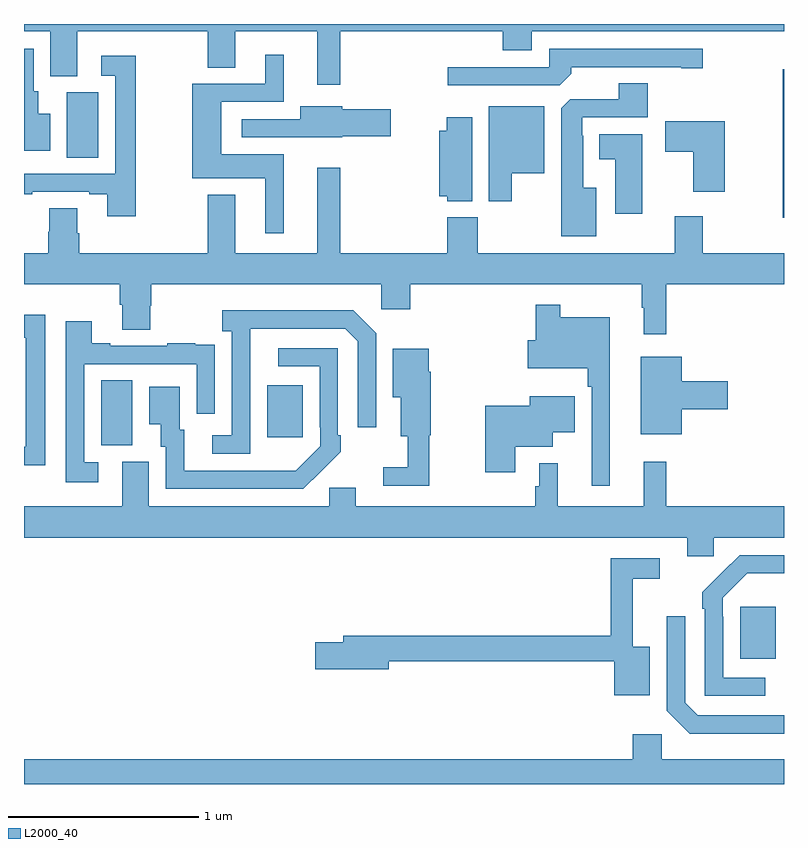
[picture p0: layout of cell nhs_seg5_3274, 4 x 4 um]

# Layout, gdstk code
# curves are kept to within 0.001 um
import gdstk
lib = gdstk.Library(unit=1e-6, precision=1e-09)
def R(c, l, rs):  # rectangles x0, y0, x1, y1
    for r in rs: c.add(gdstk.rectangle(r[:2], r[2:], *l))
def P(c, l, *ps):  # polygons
    for p in ps: c.add(gdstk.Polygon(p, *l))
L2000_40 = (2000, 40)

nhs_seg5_3274 = lib.new_cell('nhs_seg5_3274')
R(nhs_seg5_3274, L2000_40, [(304.769,853.457,304.957,853.732), (301.406,854.581,301.57,854.924), (302.279,854.625,302.467,854.899), (304.993,855.779,305,856.562), (301.226,856.096,301.39,856.44)])
P(nhs_seg5_3274, L2000_40, [(302.665,856.76),(303.521,856.76),(303.521,856.661),(303.673,856.661),(303.673,856.76),(305,856.76),(305,856.799),(301,856.799),(301,856.76),(301.139,856.76),(301.139,856.525),(301.279,856.525),(301.279,856.76),(301.966,856.76),(301.966,856.57),(302.113,856.57),(302.113,856.76),(302.543,856.76),(302.543,856.479),(302.665,856.479)],
  [(301.138,856.327),(301.075,856.327),(301.075,856.446),(301.05,856.446),(301.05,856.668),(301,856.668),(301,856.131),(301.138,856.131)],
  [(303.881,856.538),(303.881,856.572),(304.46,856.572),(304.46,856.567),(304.573,856.567),(304.573,856.668),(303.765,856.668),(303.765,856.572),(303.231,856.572),(303.231,856.476),(303.819,856.476)],
  [(302.368,856.114),(302.038,856.114),(302.038,856.389),(302.368,856.389),(302.368,856.636),(302.27,856.636),(302.27,856.485),(301.885,856.485),(301.885,855.986),(302.27,855.986),(302.27,855.699),(302.368,855.699)],
  [(301.588,856.633),(301.407,856.633),(301.407,856.527),(301.479,856.527),(301.479,856.011),(301,856.011),(301,855.903),(301.043,855.903),(301.043,855.915),(301.343,855.915),(301.343,855.903),(301.439,855.903),(301.439,855.786),(301.588,855.786)],
  [(304.012,855.937),(303.943,855.937),(303.943,856.211),(303.939,856.211),(303.939,856.308),(304.283,856.308),(304.283,856.487),(304.13,856.487),(304.13,856.404),(303.876,856.404),(303.827,856.355),(303.827,855.683),(304.012,855.683)],
  [(302.676,856.208),(302.929,856.208),(302.929,856.35),(302.676,856.35),(302.676,856.366),(302.453,856.366),(302.453,856.299),(302.145,856.299),(302.145,856.203),(302.457,856.203),(302.457,856.202),(302.676,856.202)],
  [(303.568,856.013),(303.739,856.013),(303.739,856.366),(303.446,856.366),(303.446,855.867),(303.568,855.867)],
  [(303.358,856.309),(303.224,856.309),(303.224,856.237),(303.185,856.237),(303.185,855.893),(303.228,855.893),(303.228,855.866),(303.358,855.866)],
  [(304.689,856.288),(304.374,856.288),(304.374,856.126),(304.523,856.126),(304.523,855.915),(304.689,855.915)],
  [(304.255,856.219),(304.028,856.219),(304.028,856.088),(304.112,856.088),(304.112,855.801),(304.255,855.801)],
  [(304.379,855.428),(305,855.428),(305,855.592),(304.572,855.592),(304.572,855.787),(304.424,855.787),(304.424,855.592),(303.387,855.592),(303.387,855.781),(303.227,855.781),(303.227,855.592),(302.665,855.592),(302.665,856.042),(302.543,856.042),(302.543,855.592),(302.113,855.592),(302.113,855.901),(301.966,855.901),(301.966,855.592),(301.292,855.592),(301.292,855.698),(301.279,855.698),(301.279,855.83),(301.132,855.83),(301.132,855.705),(301.127,855.705),(301.127,855.592),(301,855.592),(301,855.428),(301.505,855.428),(301.505,855.322),(301.517,855.322),(301.517,855.19),(301.665,855.19),(301.665,855.315),(301.67,855.315),(301.67,855.428),(302.88,855.428),(302.88,855.297),(303.032,855.297),(303.032,855.428),(304.251,855.428),(304.251,855.305),(304.262,855.305),(304.262,855.165),(304.379,855.165)],
  [(304.084,855.256),(303.823,855.256),(303.823,855.322),(303.694,855.322),(303.694,855.135),(303.65,855.135),(303.65,854.987),(303.967,854.987),(303.967,854.891),(303.987,854.891),(303.987,854.37),(304.084,854.37)],
  [(302.19,854.995),(302.191,855.195),(302.691,855.195),(302.757,855.129),(302.757,854.676),(302.853,854.676),(302.853,855.171),(302.732,855.292),(302.043,855.292),(302.043,855.182),(302.094,855.182),(302.094,854.634),(301.992,854.634),(301.992,854.538),(302.19,854.538)],
  [(301.111,855.268),(301,855.268),(301,855.147),(301.01,855.147),(301.01,854.574),(301,854.574),(301,854.477),(301.111,854.477)],
  [(301.39,854.493),(301.317,854.493),(301.317,855.009),(301.908,855.009),(301.908,854.748),(302.004,854.748),(302.004,855.002),(302.003,855.002),(302.003,855.111),(301.901,855.111),(301.901,855.118),(301.753,855.118),(301.753,855.105),(301.453,855.105),(301.453,855.118),(301.357,855.118),(301.357,855.235),(301.221,855.235),(301.221,854.388),(301.39,854.388)],
  [(302.561,854.443),(302.562,854.442),(302.667,854.547),(302.667,854.635),(302.652,854.635),(302.652,855.093),(302.337,855.093),(302.337,854.997),(302.556,854.997),(302.556,854.677),(302.559,854.677),(302.559,854.577),(302.431,854.449),(301.843,854.448),(301.843,854.664),(301.819,854.664),(301.819,854.89),(301.658,854.89),(301.658,854.693),(301.721,854.693),(301.721,854.574),(301.746,854.574),(301.746,854.352),(302.47,854.352)],
  [(303.134,854.634),(303.142,854.634),(303.142,854.97),(303.13,854.97),(303.13,855.091),(302.942,855.091),(302.942,854.834),(302.984,854.834),(302.984,854.63),(303.021,854.63),(303.021,854.467),(302.892,854.467),(302.892,854.37),(303.134,854.37)],
  [(304.462,854.771),(304.705,854.771),(304.705,854.918),(304.462,854.918),(304.462,855.049),(304.247,855.049),(304.247,854.639),(304.462,854.639)],
  [(303.586,854.573),(303.784,854.573),(303.784,854.651),(303.898,854.651),(303.898,854.839),(303.662,854.839),(303.662,854.791),(303.428,854.791),(303.428,854.439),(303.586,854.439)],
  [(304.262,854.494),(304.262,854.26),(303.809,854.26),(303.809,854.488),(303.711,854.488),(303.711,854.367),(303.691,854.367),(303.691,854.26),(302.746,854.26),(302.746,854.358),(302.607,854.358),(302.607,854.26),(301.657,854.26),(301.657,854.496),(301.517,854.496),(301.517,854.26),(301,854.26),(301,854.096),(304.49,854.096),(304.49,853.998),(304.629,853.998),(304.629,854.096),(305,854.096),(305,854.26),(304.379,854.26),(304.379,854.494)],
  [(304.9,853.359),(304.68,853.359),(304.68,853.679),(304.677,853.679),(304.677,853.779),(304.806,853.908),(305,853.908),(305,854.004),(304.766,854.004),(304.569,853.809),(304.569,853.721),(304.584,853.721),(304.584,853.263),(304.9,853.263)],
  [(304.294,853.522),(304.205,853.522),(304.205,853.878),(304.345,853.878),(304.345,853.986),(304.087,853.986),(304.087,853.58),(302.681,853.58),(302.681,853.544),(302.532,853.544),(302.532,853.402),(302.92,853.402),(302.92,853.444),(304.107,853.444),(304.107,853.265),(304.294,853.265)],
  [(305,853.161),(304.545,853.161),(304.479,853.227),(304.479,853.681),(304.383,853.681),(304.383,853.185),(304.504,853.064),(305,853.064)],
  [(305,852.928),(304.356,852.928),(304.356,853.06),(304.205,853.06),(304.205,852.928),(301,852.928),(301,852.799),(305,852.799)])

lib.write_gds('nhs_seg5_3274.gds')
